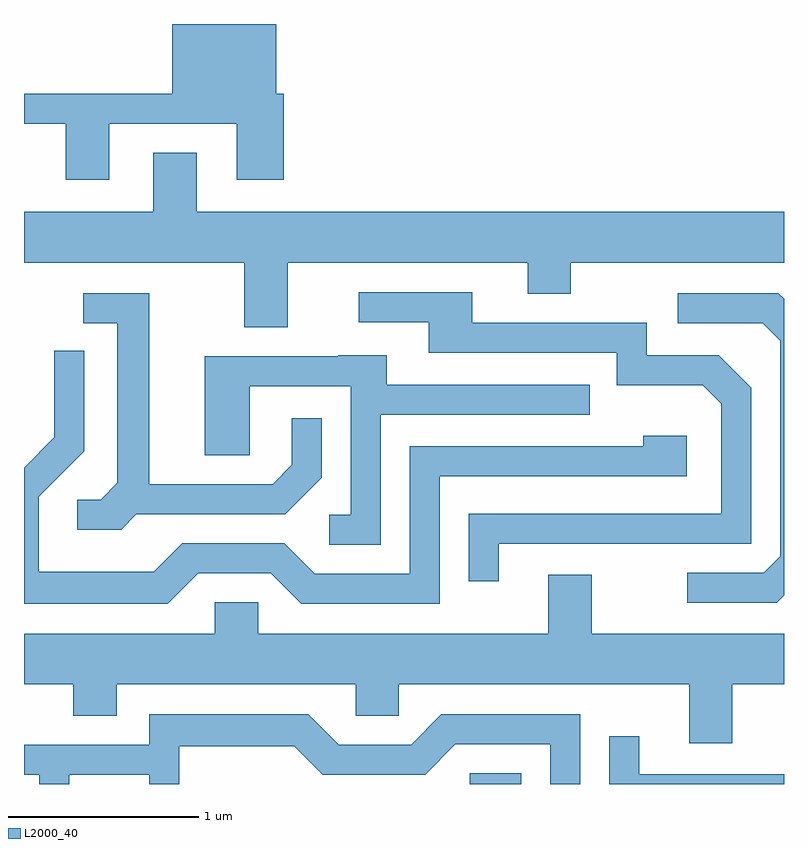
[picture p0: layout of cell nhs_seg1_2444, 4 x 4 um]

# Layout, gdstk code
import gdstk
lib = gdstk.Library(unit=1e-6, precision=1e-09)
def R(c, l, rs):  # rectangles x0, y0, x1, y1
    for r in rs: c.add(gdstk.rectangle(r[:2], r[2:], *l))
def P(c, l, *ps):  # polygons
    for p in ps: c.add(gdstk.Polygon(p, *l))
L2000_40 = (2000, 40)

nhs_seg1_2444 = lib.new_cell('nhs_seg1_2444')
R(nhs_seg1_2444, L2000_40, [(261.957,905.712,262.229,905.769)])
P(nhs_seg1_2444, L2000_40, [(260.059,909.186),(260.731,909.186),(260.731,908.891),(260.979,908.891),(260.979,909.344),(260.939,909.344),(260.939,909.712),(260.391,909.712),(260.391,909.344),(259.611,909.344),(259.611,909.186),(259.831,909.186),(259.831,908.891),(260.059,908.891)],
  [(260.999,908.456),(262.261,908.456),(262.261,908.291),(262.489,908.291),(262.489,908.456),(263.611,908.456),(263.611,908.724),(260.519,908.724),(260.519,909.034),(260.291,909.034),(260.291,908.724),(259.611,908.724),(259.611,908.456),(260.771,908.456),(260.771,908.116),(260.999,908.116)],
  [(262.109,906.976),(263.439,906.976),(263.439,907.797),(263.267,907.969),(262.889,907.969),(262.889,908.139),(261.969,908.139),(261.969,908.299),(261.373,908.299),(261.373,908.141),(261.741,908.141),(261.741,907.981),(262.731,907.981),(262.731,907.811),(263.184,907.811),(263.281,907.714),(263.281,907.134),(261.951,907.134),(261.951,906.778),(262.109,906.778)],
  [(260.202,907.131),(260.986,907.131),(261.179,907.324),(261.179,907.638),(261.021,907.638),(261.021,907.392),(260.919,907.289),(260.269,907.289),(260.269,908.294),(259.923,908.294),(259.923,908.136),(260.101,908.136),(260.101,907.297),(260.014,907.209),(259.892,907.209),(259.892,907.051),(260.122,907.051)],
  [(263.611,906.705),(263.611,908.265),(263.582,908.294),(263.053,908.294),(263.053,908.136),(263.499,908.136),(263.591,908.044),(263.591,906.912),(263.504,906.824),(263.103,906.824),(263.103,906.666),(263.572,906.666)],
  [(260.527,906.821),(260.909,906.821),(261.069,906.661),(261.799,906.661),(261.799,907.331),(263.099,907.331),(263.099,907.544),(262.871,907.544),(262.871,907.489),(261.641,907.489),(261.641,906.819),(261.142,906.819),(260.981,906.979),(260.444,906.979),(260.294,906.829),(259.689,906.829),(259.689,907.224),(259.929,907.464),(259.929,907.993),(259.771,907.993),(259.771,907.537),(259.611,907.377),(259.611,906.661),(260.367,906.661)],
  [(261.489,907.656),(262.588,907.656),(262.588,907.814),(261.519,907.814),(261.519,907.969),(261.265,907.969),(261.265,907.964),(260.561,907.964),(260.561,907.441),(260.799,907.441),(260.799,907.806),(261.331,907.806),(261.331,907.129),(261.218,907.129),(261.218,906.971),(261.489,906.971)],
  [(263.339,906.236),(263.611,906.236),(263.611,906.504),(262.599,906.504),(262.599,906.814),(262.371,906.814),(262.371,906.504),(260.844,906.504),(260.844,906.669),(260.616,906.669),(260.616,906.504),(259.611,906.504),(259.611,906.236),(259.871,906.236),(259.871,906.071),(260.099,906.071),(260.099,906.236),(261.356,906.236),(261.356,906.071),(261.584,906.071),(261.584,906.236),(263.111,906.236),(263.111,905.926),(263.339,905.926)],
  [(259.849,905.761),(260.271,905.761),(260.271,905.712),(260.429,905.712),(260.429,905.911),(261.034,905.911),(261.183,905.761),(261.722,905.761),(261.882,905.921),(262.381,905.921),(262.381,905.712),(262.539,905.712),(262.539,906.079),(261.808,906.079),(261.649,905.919),(261.267,905.919),(261.106,906.079),(260.271,906.079),(260.271,905.919),(259.611,905.919),(259.611,905.761),(259.691,905.761),(259.691,905.712),(259.849,905.712)],
  [(263.611,905.764),(262.849,905.764),(262.849,905.963),(262.691,905.963),(262.691,905.712),(263.611,905.712)])

lib.write_gds('nhs_seg1_2444.gds')
